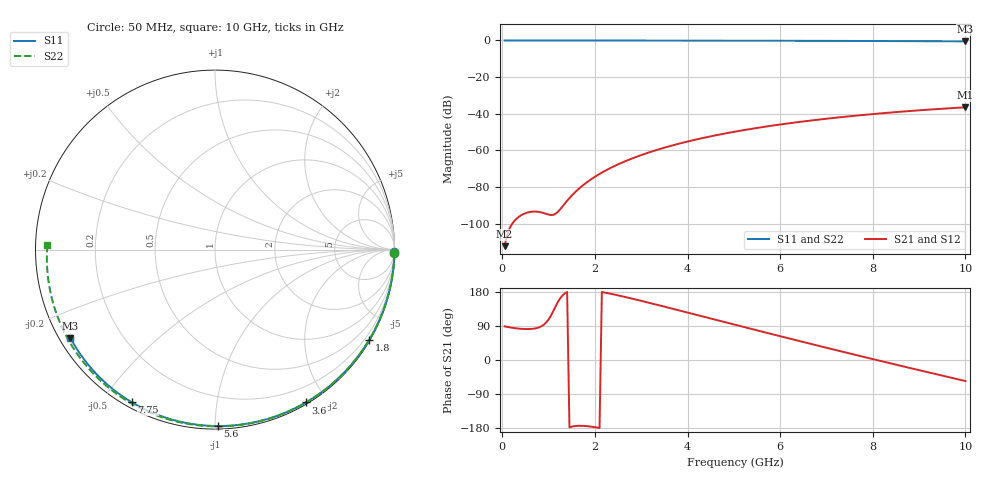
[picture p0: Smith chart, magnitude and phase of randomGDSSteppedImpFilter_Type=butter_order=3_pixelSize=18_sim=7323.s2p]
! freq	dB(S11)	phase(S11)	dB(S12)	phase(S12)
!  dB(S21)	phase(S21)	dB(S22)	phase(S22)
!S-par simulation data
#  GHz  S  DB  R 50
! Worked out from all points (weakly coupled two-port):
!   200 points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, 50 MHz to 10 GHz, reference 50 ohm
!   highest |S21| = -36.48 dB at 10 GHz (marker M1); lowest = -112.3 dB at 50 MHz (marker M2)
!   lowest |S11| = -0.5 dB at 10 GHz (marker M3), VSWR 34.49, Z = 1.56 - j14 ohm
!   |S11| at or under -10 dB: nowhere
!   |S22| runs from -0.6 to 0.0 dB; largest |S21 - S12| = 0
!   S11 on the Smith chart (normalised r, x): 50 MHz: open; 1.8 GHz: 0.03, -3.68; 3.6 GHz: 0.02, -1.76; 5.6 GHz: 0.02, -1.02; 7.75 GHz: 0.02, -0.59; 10 GHz: 0.03, -0.28
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0.05  -0.00 -0.9  -112.29 88.7  -112.29 88.7  -0.00 -1.0
0.4  -0.01 -6.9  -95.53 82.3  -95.53 82.3  -0.01 -8.4
0.8  -0.02 -13.7  -93.62 86.5  -93.62 86.5  -0.02 -16.7
1.2  -0.03 -20.4  -93.55 153.0  -93.55 153.0  -0.03 -24.9
1.65  -0.04 -27.9  -81.01 -173.7  -81.01 -173.7  -0.04 -34.0
1.7  -0.04 -28.7  -79.92 -173.6  -79.92 -173.6  -0.04 -35.0
1.75  -0.04 -29.5  -78.88 -173.9  -78.88 -173.9  -0.05 -36.0
1.8  -0.04 -30.4  -77.90 -174.3  -77.90 -174.3  -0.05 -37.0
2.1  -0.04 -35.3  -72.85 -179.4  -72.85 -179.4  -0.05 -42.9
2.5  -0.05 -41.8  -67.63 170.6  -67.63 170.6  -0.07 -50.8
2.9  -0.06 -48.2  -63.48 159.1  -63.48 159.1  -0.08 -58.5
3.4  -0.07 -56.1  -59.26 143.9  -59.26 143.9  -0.09 -68.0
3.6  -0.08 -59.2  -57.80 137.7  -57.80 137.7  -0.10 -71.7
4.3  -0.10 -70.0  -53.41 115.8  -53.41 115.8  -0.12 -84.5
5.05  -0.12 -81.1  -49.66 92.3  -49.66 92.3  -0.15 -97.7
5.6  -0.15 -89.0  -47.36 75.1  -47.36 75.1  -0.18 -107.2
6.15  -0.17 -96.8  -45.35 58.1  -45.35 58.1  -0.21 -116.5
6.7  -0.20 -104.4  -43.59 41.3  -43.59 41.3  -0.25 -125.7
7.75  -0.28 -118.6  -40.77 9.8  -40.77 9.8  -0.33 -143.1
8.35  -0.33 -126.6  -39.42 -7.9  -39.42 -7.9  -0.39 -153.1
9.2  -0.41 -137.9  -37.77 -32.6  -37.77 -32.6  -0.49 -167.5
10  -0.50 -148.6  -36.48 -55.5  -36.48 -55.5  -0.59 178.3
